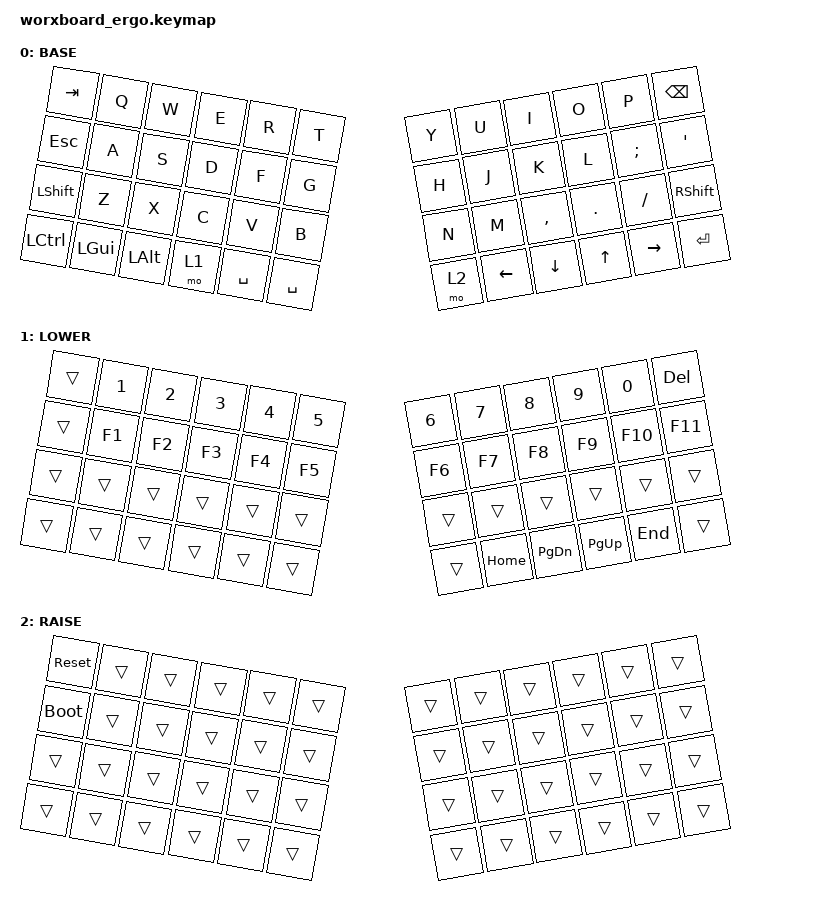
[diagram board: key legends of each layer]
#include <behaviors.dtsi>
#include <dt-bindings/zmk/keys.h>
/ { keymap { compatible = "zmk,keymap";
base { label = "BASE"; bindings = <&kp T &kp R &kp E &kp W &kp Q &kp TAB &kp G &kp F &kp D &kp S &kp A &kp ESC &kp B &kp V &kp C &kp X &kp Z &kp LSHFT &kp SPACE &kp SPACE &mo 1 &kp LALT &kp LGUI &kp LCTRL &kp Y &kp U &kp I &kp O &kp P &kp BSPC &kp H &kp J &kp K &kp L &kp SEMI &kp SQT &kp N &kp M &kp COMMA &kp DOT &kp FSLH &kp RSHFT &mo 2 &kp LEFT &kp DOWN &kp UP &kp RIGHT &kp RET>; };
lower { label = "LOWER"; bindings = <&kp N5 &kp N4 &kp N3 &kp N2 &kp N1 &trans &kp F5 &kp F4 &kp F3 &kp F2 &kp F1 &trans &trans &trans &trans &trans &trans &trans &trans &trans &trans &trans &trans &trans &kp N6 &kp N7 &kp N8 &kp N9 &kp N0 &kp DEL &kp F6 &kp F7 &kp F8 &kp F9 &kp F10 &kp F11 &trans &trans &trans &trans &trans &trans &trans &kp HOME &kp PG_DN &kp PG_UP &kp END &trans>; };
raise { label = "RAISE"; bindings = <&trans &trans &trans &trans &trans &sys_reset &trans &trans &trans &trans &trans &bootloader &trans &trans &trans &trans &trans &trans &trans &trans &trans &trans &trans &trans &trans &trans &trans &trans &trans &trans &trans &trans &trans &trans &trans &trans &trans &trans &trans &trans &trans &trans &trans &trans &trans &trans &trans &trans>; };
}; };
